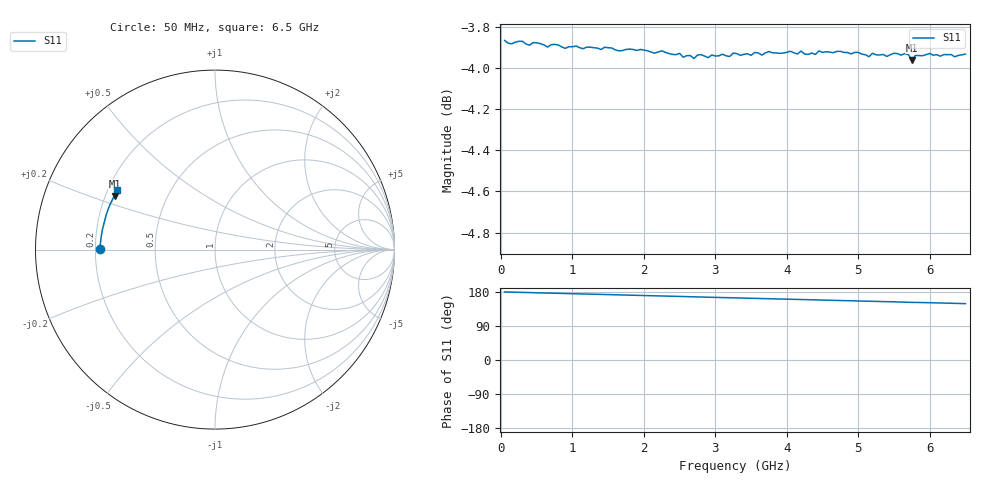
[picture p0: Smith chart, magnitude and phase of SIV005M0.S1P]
! (c) 1999  Infineon Technologies AG, Munich
! Infineon Technologies  Discrete & RF Semiconductors
! BAT24-02LS
! Si Schottky Diode in TSSLP-2
! IF = 5 mA
! S-Parameters:  July  2007
# GHz  S  MA  R  50
!  f  S11
! GHz  MAG  ANG
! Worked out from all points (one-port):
!   130 points, 50 MHz to 6.5 GHz, reference 50 ohm
!   lowest |S11| = -4.0 dB at 5.75 GHz (marker M1), VSWR 4.46, Z = 11.9 + j11.8 ohm
!   |S11| at or under -10 dB: nowhere
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0.05  0.6408 179.6
0.15  0.6396 179.2
0.5  0.6399 177.4
0.65  0.6384 176.7
0.75  0.6393 176.2
0.9  0.6379 175.5
1.45  0.6383 172.8
1.7  0.6371 171.6
1.95  0.6375 170.4
2.5  0.6361 167.7
2.7  0.6343 166.7
2.75  0.6356 166.5
2.95  0.6356 165.4
3.3  0.6361 163.8
3.65  0.6355 162.2
3.8  0.6363 161.4
4.1  0.6363 160.1
4.4  0.6358 158.6
4.45  0.637 158.4
4.9  0.636 156.2
5.35  0.6358 154.1
5.4  0.6351 154.0
5.7  0.6358 152.5
5.75  0.6338 152.0
5.8  0.6354 152.0
6  0.6361 151.1
6.4  0.6354 149.3
6.5  0.6359 148.7
